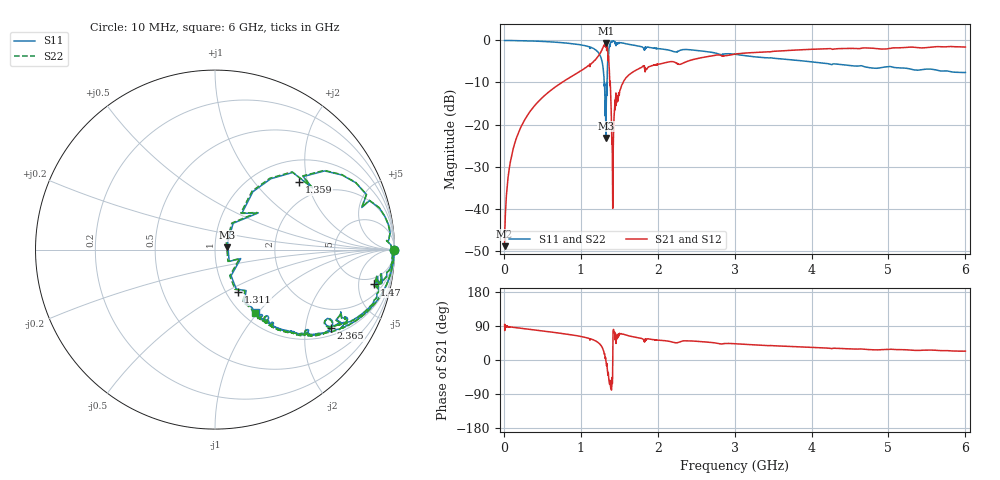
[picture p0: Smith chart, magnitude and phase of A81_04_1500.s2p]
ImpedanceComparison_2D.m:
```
close all;
clear all;


%% Measured S2P Files to read  Originals%%

Sa81_1400   = sparameters('A81_04_1500.s2p');
Za81_1400   = s2z(Sa81_1400.Parameters);
Z0          = 1;

S11_1400    = reshape(Sa81_1400.Parameters(1,1,:),[],1);

[Zin]       = S2p_to_Zin(Sa81_1400);
Zin         = reshape(Zin,[],1).';


%% Plot 2D measure 
 IDT_Y=load('30XY_LINBO_81_40_1400_2D_Q1200.txt');
 IDT_Y2=load('30XY_LINBO_81_40_1400_2D_Q1200.txt');
 IDT_Y3=load('30XY_LINBO_81_40_1400_3D_Q1200.txt');
createfigure(Sa81_1400.Frequencies./1e6,20*log10(abs(Zin)),IDT_Y(:,1)./1E6,44.9482/28.2106.*IDT_Y(:,2),IDT_Y2(:,1),45.0678/50.262.*IDT_Y2(:,2),IDT_Y3(:,1),45.0678/47.5348*IDT_Y3(:,2))

hold on 

%% Section to put max and minims
[y,x]= findpeaks(IDT_Y2(:,2));
[y1,x1]= findpeaks(-IDT_Y2(:,2));
K2=(pi^2/8)*((IDT_Y2(x(3),1).^2)-(IDT_Y2(x1(3),1).^2))/(IDT_Y2(x1(3),1).^2);
% # show X and Y coordinate
hold on
text(IDT_Y2(x(2),1)/1E6,y(2),strcat('[',num2str(IDT_Y2(x(2),1)/1E6),',',num2str(y(2),4),']'),'horiz','center','vert','bottom')
text(IDT_Y2(x1(1),1)/1E6,-y1(1),strcat('[',num2str(IDT_Y2(x1(1),1)/1E6),',',num2str(-y1(1),4),']'),'horiz','center','vert','bottom')
```
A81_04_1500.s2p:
!Agilent Technologies,N5242A,MY49421580,A.09.80.15
!Agilent N5242A: A.09.80.15
!Date: Wednesday, November 24, 2021 03:29:30
!Correction: S11(Full 2 Port(1,2))
!S21(Full 2 Port(1,2))
!S12(Full 2 Port(1,2))
!S22(Full 2 Port(1,2))
!S2P File: Measurements: S11, S21, S12, S22:
# Hz S  RI  R 50
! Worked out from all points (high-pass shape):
!   6001 points, 10 MHz to 6 GHz, reference 50 ohm
!   highest |S21| = -0.61 dB at 1.327 GHz (marker M1); lowest = -48.9 dB at 10 MHz (marker M2)
!   |S21| within 3 dB of the highest: 1.231 GHz to 1.353 GHz (122.2 MHz wide, 9.45 % of centre); 2.892 GHz to end of sweep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
!   lowest |S11| = -23.2 dB at 1.327 GHz (marker M3), VSWR 1.15, Z = 57.3 + j1.56 ohm
!   |S11| at or under -10 dB: 1.305 GHz to 1.342 GHz (36.68 MHz wide, 2.77 % of centre)
!   |S22| runs from -24.1 to 0.0 dB; largest |S21 - S12| = 0.0035
!   S11 on the Smith chart (normalised r, x): 10 MHz: open; 1.311 GHz: 1.14, -0.58; 1.359 GHz: 1.51, +1.77; 1.47 GHz: 3.49, -7.67; 2.365 GHz: 1.23, -2.76; 6 GHz: 1.16, -0.97
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1e7  0.9975 -0.00464  -0.00019 0.00357  -0.000363 0.0039  0.9954 -0.00364
2.595833e8  0.985 -0.1088  0.0137 0.1082  0.0141 0.1082  0.9846 -0.1102
1.174057e9  0.6486 -0.4567  0.3498 0.4521  0.3505 0.4518  0.6465 -0.4602
1.310828e9  0.1302 -0.2363  0.8692 0.2313  0.8702 0.2296  0.1231 -0.238
1.326802e9  0.068 0.0136  0.9314 -0.0201  0.9316 -0.0211  0.0611 0.0141
1.358748e9  0.4673 0.3747  0.5291 -0.3816  0.5295 -0.3819  0.4644 0.3774
1.412658e9  0.9838 0.0175  0.013 -0.0194  0.0128 -0.0195  0.9832 0.0165
1.469563e9  0.8864 -0.1941  0.1131 0.19  0.1133 0.1902  0.8836 -0.1949
2.365068e9  0.6455 -0.4383  0.3514 0.4297  0.3517 0.4294  0.6423 -0.4422
3.005e9  0.4929 -0.4749  0.5032 0.468  0.504 0.4679  0.4886 -0.4792
6e9  0.2301 -0.3462  0.7665 0.3306  0.7685 0.3302  0.2251 -0.3511
